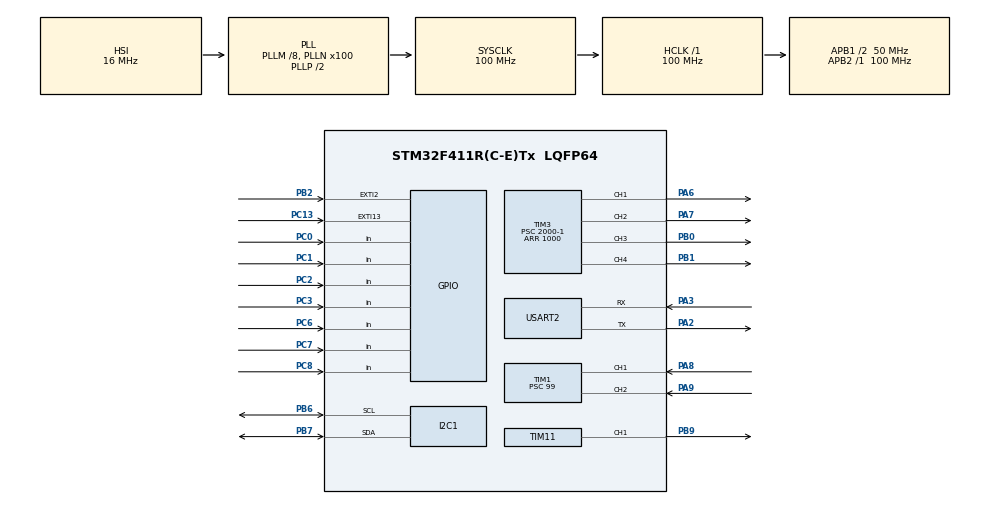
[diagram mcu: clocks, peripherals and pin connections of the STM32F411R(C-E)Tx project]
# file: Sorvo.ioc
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Mcu.Family=STM32F4
Mcu.Name=STM32F411R(C-E)Tx
Mcu.Package=LQFP64
NVIC.EXTI15_10_IRQn=true\:2\:0\:true\:false\:true\:true
NVIC.EXTI2_IRQn=true\:3\:0\:true\:false\:true\:true
NVIC.PriorityGroup=NVIC_PRIORITYGROUP_2
PA2.Mode=Asynchronous
PA2.Signal=USART2_TX
PA3.Mode=Asynchronous
PA3.Signal=USART2_RX
PA6.Signal=S_TIM3_CH1
PA7.Signal=S_TIM3_CH2
PA8.Signal=S_TIM1_CH1
PA9.Signal=S_TIM1_CH2
PB0.Signal=S_TIM3_CH3
PB1.Signal=S_TIM3_CH4
PB2.Signal=GPXTI2
PB6.Mode=I2C
PB6.Signal=I2C1_SCL
PB7.Mode=I2C
PB7.Signal=I2C1_SDA
PB9.Signal=S_TIM11_CH1
PC0.Signal=GPIO_Input
PC1.Signal=GPIO_Input
PC13-ANTI_TAMP.GPIO_ModeDefaultEXTI=GPIO_MODE_IT_FALLING
PC13-ANTI_TAMP.Signal=GPXTI13
PC2.Signal=GPIO_Input
PC3.Signal=GPIO_Input
PC6.Signal=GPIO_Input
PC7.Signal=GPIO_Input
PC8.Signal=GPIO_Input
ProjectManager.HeapSize=0x200
ProjectManager.StackSize=0x400
ProjectManager.TargetToolchain=MDK-ARM V5
RCC.48MHZClocksFreq_Value=50000000
RCC.AHBFreq_Value=100000000
RCC.APB1CLKDivider=RCC_HCLK_DIV2
RCC.APB1Freq_Value=50000000
RCC.APB1TimFreq_Value=100000000
RCC.APB2Freq_Value=100000000
RCC.APB2TimFreq_Value=100000000
RCC.CortexFreq_Value=100000000
RCC.HCLKFreq_Value=100000000
RCC.HSE_VALUE=25000000
RCC.HSI_VALUE=16000000
RCC.LSE_VALUE=32768
RCC.PLLM=8
RCC.PLLN=100
RCC.SYSCLKFreq_VALUE=100000000
RCC.SYSCLKSource=RCC_SYSCLKSOURCE_PLLCLK
RCC.VCOOutputFreq_Value=200000000
SH.S_TIM11_CH1.0=TIM11_CH1,PWM Generation1 CH1
SH.S_TIM1_CH1.0=TIM1_CH1,Input_Capture1_from_TI1
SH.S_TIM1_CH2.0=TIM1_CH2,TriggerSource_TI2FP2
SH.S_TIM1_CH2.1=TIM1_CH2,Input_Capture2_from_TI2
SH.S_TIM3_CH1.0=TIM3_CH1,PWM Generation1 CH1
SH.S_TIM3_CH2.0=TIM3_CH2,PWM Generation2 CH2
SH.S_TIM3_CH3.0=TIM3_CH3,PWM Generation3 CH3
SH.S_TIM3_CH4.0=TIM3_CH4,PWM Generation4 CH4
TIM1.Channel-Input_Capture1_from_TI1=TIM_CHANNEL_1
TIM1.Channel-Input_Capture2_from_TI2=TIM_CHANNEL_2
TIM1.ICPolarity_CH1=TIM_INPUTCHANNELPOLARITY_BOTHEDGE
TIM1.ICPolarity_CH2=TIM_INPUTCHANNELPOLARITY_BOTHEDGE
TIM1.Period=65535
TIM1.Prescaler=99
TIM11.Channel=TIM_CHANNEL_1
TIM11.Period=39999
TIM11.Prescaler=199
TIM3.Channel-PWM\ Generation1\ CH1=TIM_CHANNEL_1
TIM3.Channel-PWM\ Generation2\ CH2=TIM_CHANNEL_2
TIM3.Channel-PWM\ Generation3\ CH3=TIM_CHANNEL_3
TIM3.Channel-PWM\ Generation4\ CH4=TIM_CHANNEL_4
TIM3.Period=1000
TIM3.Prescaler=2000-1
USART2.VirtualMode=VM_ASYNC
VP_TIM11_VS_ClockSourceINT.Mode=Enable_Timer
VP_TIM1_VS_ControllerModeReset.Mode=Reset Mode
VP_TIM3_VS_ClockSourceINT.Mode=Internal
board=custom

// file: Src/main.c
/* USER CODE BEGIN Header */
/**
  ******************************************************************************
  * @file           : main.c
  * @brief          : Main program body
  ******************************************************************************
  ** This notice applies to any and all portions of this file
  * that are not between comment pairs USER CODE BEGIN and
  * USER CODE END. Other portions of this file, whether
  * inserted by the user or by software development tools
  * are owned by their respective copyright owners.
  *
  * COPYRIGHT(c) 2019 STMicroelectronics
  *
  * Redistribution and use in source and binary forms, with or without modification,
  * are permitted provided that the following conditions are met:
  *   1. Redistributions of source code must retain the above copyright notice,
  *      this list of conditions and the following disclaimer.
  *   2. Redistributions in binary form must reproduce the above copyright notice,
  *      this list of conditions and the following disclaimer in the documentation
  *      and/or other materials provided with the distribution.
  *   3. Neither the name of STMicroelectronics nor the names of its contributors
  *      may be used to endorse or promote products derived from this software
  *      without specific prior written permission.
  *
  * THIS SOFTWARE IS PROVIDED BY THE COPYRIGHT HOLDERS AND CONTRIBUTORS "AS IS"
  * AND ANY EXPRESS OR IMPLIED WARRANTIES, INCLUDING, BUT NOT LIMITED TO, THE
  * IMPLIED WARRANTIES OF MERCHANTABILITY AND FITNESS FOR A PARTICULAR PURPOSE ARE
  * DISCLAIMED. IN NO EVENT SHALL THE COPYRIGHT HOLDER OR CONTRIBUTORS BE LIABLE
  * FOR ANY DIRECT, INDIRECT, INCIDENTAL, SPECIAL, EXEMPLARY, OR CONSEQUENTIAL
  * DAMAGES (INCLUDING, BUT NOT LIMITED TO, PROCUREMENT OF SUBSTITUTE GOODS OR
  * SERVICES; LOSS OF USE, DATA, OR PROFITS; OR BUSINESS INTERRUPTION) HOWEVER
  * CAUSED AND ON ANY THEORY OF LIABILITY, WHETHER IN CONTRACT, STRICT LIABILITY,
  * OR TORT (INCLUDING NEGLIGENCE OR OTHERWISE) ARISING IN ANY WAY OUT OF THE USE
  * OF THIS SOFTWARE, EVEN IF ADVISED OF THE POSSIBILITY OF SUCH DAMAGE.
  *
  ******************************************************************************
  */
/* USER CODE END Header */

#include "main.h"
#include "i2c.h"
#include "tim.h"
#include "usart.h"
#include "gpio.h"

/* USER CODE BEGIN Includes */
#include "i2c-lcd.h"
#include "string.h"
#include "stdio.h"
#include "stm32f4xx_it.h"

/* USER CODE END Includes */

/* USER CODE BEGIN PV */
#ifdef _GNUC_
#define PUTCHAR_PROTOTYPE int __io_putcahr(int ch)
#else
#define PUTCHAR_PROTOTYPE int fputc(int ch,FILE *f)
#endif  /* _GNUC_ */
PUTCHAR_PROTOTYPE{
		HAL_UART_Transmit(&huart2 ,(uint8_t *)&ch ,1,10);
	return ch;
}
uint32_t echo2,delay;
float dist2;
extern TIM_HandleTypeDef htim1;
extern TIM_HandleTypeDef htim3;
extern TIM_HandleTypeDef htim11;
/* USER CODE END PV */

void SystemClock_Config(void);

/* USER CODE BEGIN 0 */
char dists[16];
int i__1 = 72;
int i__2 = 45;
int i__3 = 52;
int i__4 = 59;
int countCatch = 0;
/* USER CODE END 0 */

int main(void)
{

  /* MCU Configuration--------------------------------------------------------*/

  /* Reset of all peripherals, Initializes the Flash interface and the Systick. */
  HAL_Init();

  /* Configure the system clock */
  SystemClock_Config();

  /* Initialize all configured peripherals */
  MX_GPIO_Init();
  MX_TIM3_Init();
  MX_USART2_UART_Init();
  MX_TIM11_Init();
  MX_TIM1_Init();
  MX_I2C1_Init();
  /* USER CODE BEGIN 2 */
	lcd_init ();
	HAL_TIM_Base_Start(&htim11);
	HAL_TIM_Base_Start(&htim1);
	HAL_TIM_PWM_Start(&htim11,TIM_CHANNEL_1);
	HAL_TIM_IC_Start(&htim1,TIM_CHANNEL_2);

	HAL_TIM_PWM_Start(&htim3,TIM_CHANNEL_1);
	HAL_TIM_PWM_Start(&htim3,TIM_CHANNEL_2);
	HAL_TIM_PWM_Start(&htim3,TIM_CHANNEL_3);
	HAL_TIM_PWM_Start(&htim3,TIM_CHANNEL_4);
	TIM11->CCR1 = 3;
  /* USER CODE END 2 */

  /* Infinite loop */
  /* USER CODE BEGIN WHILE */
	reset_Start(i__1,i__2,i__3,i__4);
	lcd_send_cmd (0x01);
	HAL_Delay(500);
	displayLCD_Manual_mode();
  while (1)
  {
    /* USER CODE END WHILE */

    /* USER CODE BEGIN 3 */
		manualMode();
	}
  /* USER CODE END 3 */
}

void SystemClock_Config(void)
{
  RCC_OscInitTypeDef RCC_OscInitStruct = {0};
  RCC_ClkInitTypeDef RCC_ClkInitStruct = {0};

  /**Configure the main internal regulator output voltage
  */
  __HAL_RCC_PWR_CLK_ENABLE();
  __HAL_PWR_VOLTAGESCALING_CONFIG(PWR_REGULATOR_VOLTAGE_SCALE1);
  /**Initializes the CPU, AHB and APB busses clocks
  */
  RCC_OscInitStruct.OscillatorType = RCC_OSCILLATORTYPE_HSI;
  RCC_OscInitStruct.HSIState = RCC_HSI_ON;
  RCC_OscInitStruct.HSICalibrationValue = RCC_HSICALIBRATION_DEFAULT;
  RCC_OscInitStruct.PLL.PLLState = RCC_PLL_ON;
  RCC_OscInitStruct.PLL.PLLSource = RCC_PLLSOURCE_HSI;
  RCC_OscInitStruct.PLL.PLLM = 8;
  RCC_OscInitStruct.PLL.PLLN = 100;
  RCC_OscInitStruct.PLL.PLLP = RCC_PLLP_DIV2;
  RCC_OscInitStruct.PLL.PLLQ = 4;
  if (HAL_RCC_OscConfig(&RCC_OscInitStruct) != HAL_OK)
  {
    Error_Handler();
  }
  /**Initializes the CPU, AHB and APB busses clocks
  */
  RCC_ClkInitStruct.ClockType = RCC_CLOCKTYPE_HCLK|RCC_CLOCKTYPE_SYSCLK
                              |RCC_CLOCKTYPE_PCLK1|RCC_CLOCKTYPE_PCLK2;
  RCC_ClkInitStruct.SYSCLKSource = RCC_SYSCLKSOURCE_PLLCLK;
  RCC_ClkInitStruct.AHBCLKDivider = RCC_SYSCLK_DIV1;
  RCC_ClkInitStruct.APB1CLKDivider = RCC_HCLK_DIV2;
  RCC_ClkInitStruct.APB2CLKDivider = RCC_HCLK_DIV1;

  if (HAL_RCC_ClockConfig(&RCC_ClkInitStruct, FLASH_LATENCY_3) != HAL_OK)
  {
    Error_Handler();
  }
}

/* USER CODE BEGIN 4 */

/**********************************************************/
void displayLCD_auto_mode(float dist){
	sprintf(dists,"distance:%.2f",dist);
	lcd_send_cmd (0xc0);
	lcd_send_string (dists);
	HAL_Delay(50);
}
void displayLCD_Manual_mode(){
	lcd_send_cmd (0x80);
	lcd_send_string ("MANUAL MODE");
	HAL_Delay(100);
}
void reset_Start(int i_1,int i_2,int i_3,int i_4){
		htim3.Instance ->CCR1= i_1;
		HAL_Delay(50);
	  htim3.Instance ->CCR2 = i_2;
		HAL_Delay(50);
	  htim3.Instance ->CCR3 = i_3;
		HAL_Delay(50);
		htim3.Instance ->CCR4 = i_4;
		HAL_Delay(50);
}
/**********************************************************/

	  /*
		  if(HAL_GPIO_ReadPin(GPIOB,GPIO_PIN_2)== GPIO_PIN_RESET){
				HAL_UART_Transmit(&huart2, (uint8_t*)"TEST",strlen("TEST"),1000);
				HAL_Delay(1000);
			}
	  */

/******************Manual Mode start*****************************/
void catchs(int i ){
		htim3.Instance ->CCR2 = i;
		HAL_Delay(20);
}
void UpAndDown(int i ,int i2){
	  htim3.Instance ->CCR3 = i;
		HAL_Delay(10);
		htim3.Instance ->CCR4 = i2;
		HAL_Delay(10);
}
void forwordAndbackword(int i ,int i2){
		htim3.Instance ->CCR3 = i;
		HAL_Delay(10);
		htim3.Instance ->CCR4 = i2;
		HAL_Delay(10);
}
void cycle(int i){
		htim3.Instance ->CCR1 = i;
		HAL_Delay(10);
}
void manualMode(){
			 if(HAL_GPIO_ReadPin(GPIOC,GPIO_PIN_6) == GPIO_PIN_SET && i__1>25){
				cycle(i__1);
				i__1--;
			}if(HAL_GPIO_ReadPin(GPIOC,GPIO_PIN_7) == GPIO_PIN_SET && i__1<126){
				cycle(i__1);
				i__1++;
			}if(HAL_GPIO_ReadPin(GPIOC,GPIO_PIN_0)==GPIO_PIN_SET && i__3 < 55){
				UpAndDown(i__3 ,i__4);
				i__3++;
		  }if(HAL_GPIO_ReadPin(GPIOC,GPIO_PIN_1)==GPIO_PIN_SET && i__3>25){
		    if(i__4 < 40 && i__3 <40){
						UpAndDown(i__3 ,i__4);
						i__3--;
						i__4++;
					}else{
						UpAndDown(i__3 ,i__4);
						i__3--;
					}
			}if(HAL_GPIO_ReadPin(GPIOC,GPIO_PIN_2)==GPIO_PIN_SET && i__4<61){
				forwordAndbackword(i__3 ,i__4);
				i__4++;
			}if(HAL_GPIO_ReadPin(GPIOC,GPIO_PIN_3)==GPIO_PIN_SET && i__4>25){
		    if(i__4 < 54 && i__3 <35){
						forwordAndbackword(i__3 ,i__4);
						i__3++;
						i__4--;
					}else{
						forwordAndbackword(i__3 ,i__4);
						i__4--;
					}
			}else if(HAL_GPIO_ReadPin(GPIOC,GPIO_PIN_8) == GPIO_PIN_SET){
					 if(countCatch==1){
						catchs(45);
						countCatch = 0;
					}else if(countCatch == 0){
						catchs(25);
						countCatch =1;
					}
					HAL_Delay(500);
		}
}
/******************Manual Mode end*****************************/

/******************Auto Mode start*****************************/
void catchOffAuto(int i_2,int i_3,int i_4){
	while(1){
			if(i_2 != 45 ){
				htim3.Instance ->CCR2 = i_2;
				HAL_Delay(30);
				i_2++;
			}else if(i_4 != 59 ){
				htim3.Instance ->CCR4= i_4;
				HAL_Delay(30);
				i_4++;
			}else if(i_3 != 52){
				htim3.Instance ->CCR3 = i_3;
				HAL_Delay(30);
				i_3++;
			}if(i_2 == 45 && i_4 == 59 && i_3 == 52){
				return;
		 }
	}
}
void catchOnAuto1(int i_2,int i_3,int i_4){
	while(1){
		 if(i_2 != 25 ){
				htim3.Instance ->CCR2 = i_2;
				HAL_Delay(30);
				i_2--;
			}else if(i_3 != 28 ){
				htim3.Instance ->CCR3 = i_3;
				HAL_Delay(30);
				i_3--;
			}else if(i_4 != 50){
				htim3.Instance ->CCR4 = i_4;
				HAL_Delay(30);
				i_4--;
		  }else if(i_2 == 25 &&i_3 == 28 &&i_4 == 50 ){
				catchOffAuto(i_2,i_3,i_4);
			  return;
		 }
	}
}

void catchOnAuto2(int i_2,int i_3,int i_4){
	while(1){
		  if(i_4 != 35){
				htim3.Instance ->CCR4 = i_4;
				HAL_Delay(30);
				i_4--;
		  }else if(i_3 != 28 ){
				htim3.Instance ->CCR3 = i_3;
				HAL_Delay(30);
				i_3--;
			}else if(i_2 != 25 ){
				htim3.Instance ->CCR2 = i_2;
				HAL_Delay(30);
				i_2--;
			}if(i_2 == 25 &&i_3 == 28 &&i_4 == 35 ){
			  catchOffAuto(i_2,i_3,i_4);
			  return;
		 }
	}
}
void AutoCyle(int i_1,int i_2,int i_3,int i_4){
	while(i_1>26){
		htim3.Instance ->CCR1 = i_1;
		HAL_Delay(30);
		i_1--;
	}
	HAL_Delay(500);
	catchOnAuto2(i_2,i_3,i_4);
	HAL_Delay(500);
	while(i_1<73){
		htim3.Instance ->CCR1 = i_1;
		HAL_Delay(30);
		i_1++;
	}
}
void AutoMode(){
	int i1 = 72;
	int i2 = 45;
	int i3 = 52;
	int i4 = 59;
	reset_Start(i1,i2,i3,i4);
	if(HAL_GetTick() - delay >=100){
			delay = HAL_GetTick();
			echo2 = HAL_TIM_ReadCapturedValue(&htim1,TIM_CHANNEL_2);
			dist2 = echo2 / 58.0f;
			//printf("Echo2: %u  dist2: %.2f    \r\n",echo2,dist2);
			displayLCD_auto_mode(dist2);
			if(dist2 <6.00){
					catchOnAuto1(i2,i3,i4);
					HAL_Delay(500);
					AutoCyle(i1,i2,i3,i4);
			}
	 }
}
/******************Auto Mode end*****************************/

/* USER CODE END 4 */

void Error_Handler(void)
{
}

/************************ (C) COPYRIGHT STMicroelectronics *****END OF FILE****/
